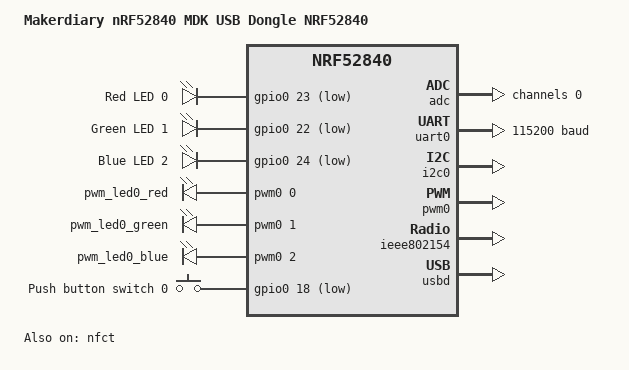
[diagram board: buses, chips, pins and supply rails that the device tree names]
/*
 * Copyright (c) 2016-2025 Makerdiary <https://makerdiary.com>
 *
 * SPDX-License-Identifier: Apache-2.0
 */

/dts-v1/;
#include <nordic/nrf52840_qiaa.dtsi>
#include "nrf52840_partition_uf2_nosd.dtsi"
#include "nrf52840_dongle_nrf52840-pinctrl.dtsi"
#include <zephyr/dt-bindings/input/input-event-codes.h>

/ {
	model = "Makerdiary nRF52840 MDK USB Dongle NRF52840";
	compatible = "makerdiary,nrf52840-dongle-nrf52840";

	chosen {
		zephyr,ieee802154 = &ieee802154;
	};

	leds {
		compatible = "gpio-leds";
		led0_red: led_0 {
			gpios = <&gpio0 23 GPIO_ACTIVE_LOW>;
			label = "Red LED 0";
		};
		led0_green: led_1 {
			gpios = <&gpio0 22 GPIO_ACTIVE_LOW>;
			label = "Green LED 1";
		};
		led0_blue: led_2 {
			gpios = <&gpio0 24 GPIO_ACTIVE_LOW>;
			label = "Blue LED 2";
		};
	};

	pwmleds {
		compatible = "pwm-leds";
		pwm_led0_red: pwm_led_0 {
			pwms = <&pwm0 0 PWM_MSEC(20) PWM_POLARITY_INVERTED>;
		};
		pwm_led0_green: pwm_led_1 {
			pwms = <&pwm0 1 PWM_MSEC(20) PWM_POLARITY_INVERTED>;
		};
		pwm_led0_blue: pwm_led_2 {
			pwms = <&pwm0 2 PWM_MSEC(20) PWM_POLARITY_INVERTED>;
		};
	};

	buttons {
		compatible = "gpio-keys";
		button0: button_0 {
			gpios = <&gpio0 18 (GPIO_PULL_UP | GPIO_ACTIVE_LOW)>;
			label = "Push button switch 0";
			zephyr,code = <INPUT_KEY_0>;
		};
	};

	/* These aliases are provided for compatibility with samples */
	aliases {
		led0 = &led0_red;
		led1 = &led0_green;
		led2 = &led0_blue;
        led0-red = &led0_red;
        led0-green = &led0_green;
        led0-blue = &led0_blue;
        pwm-led0 = &pwm_led0_red;
        pwm-led1 = &pwm_led0_green;
        pwm-led2 = &pwm_led0_blue;
        red-pwm-led = &pwm_led0_red;
        green-pwm-led = &pwm_led0_green;
        blue-pwm-led = &pwm_led0_blue;
		sw0 = &button0;
		bootloader-led0 = &led0_green;
		mcuboot-button0 = &button0;
		mcuboot-led0 = &led0_green;
		watchdog0 = &wdt0;
	};
};

&reg1 {
	regulator-initial-mode = <NRF5X_REG_MODE_DCDC>;
};

&adc {
	status = "okay";
    #address-cells = <1>;
    #size-cells = <0>;

    channel@0 {
        reg = <0>;
		zephyr,gain = "ADC_GAIN_1_6";
		zephyr,reference = "ADC_REF_INTERNAL";
		zephyr,acquisition-time = <ADC_ACQ_TIME_DEFAULT>;
		zephyr,input-positive = <NRF_SAADC_VDD>;
		zephyr,resolution = <14>;
		zephyr,oversampling = <8>;
    };
};

&gpiote {
	status = "okay";
};

&nfct {
	status = "okay";
};

&gpio0 {
	status = "okay";
};

&gpio1 {
	status = "okay";
};

&uart0 {
	compatible = "nordic,nrf-uarte";
	status = "okay";
	current-speed = <115200>;
	pinctrl-0 = <&uart0_default>;
	pinctrl-1 = <&uart0_sleep>;
	pinctrl-names = "default", "sleep";
};

&i2c0 {
	compatible = "nordic,nrf-twi";
	status = "okay";
	pinctrl-0 = <&i2c0_default>;
	pinctrl-1 = <&i2c0_sleep>;
	pinctrl-names = "default", "sleep";
};

&pwm0 {
	status = "okay";
	pinctrl-0 = <&pwm0_default>;
	pinctrl-1 = <&pwm0_sleep>;
	pinctrl-names = "default", "sleep";
};

&ieee802154 {
	status = "okay";
};

zephyr_udc0: &usbd {
	compatible = "nordic,nrf-usbd";
	status = "okay";
};

#include <../boards/common/usb/cdc_acm_serial.dtsi>
